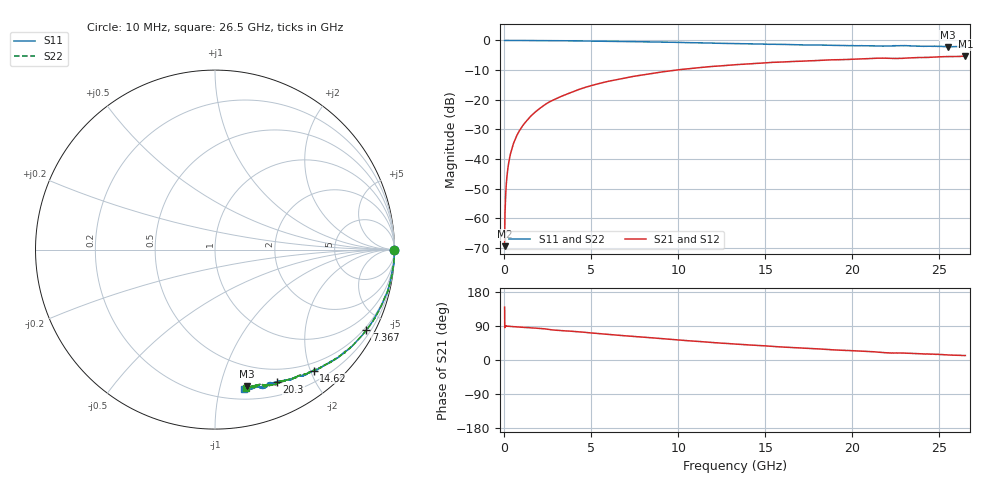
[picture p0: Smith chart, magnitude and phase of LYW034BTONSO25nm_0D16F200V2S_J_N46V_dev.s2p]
!Keysight Technologies,N5222B,MY61253708,A.15.00.15
!Date: Wednesday, June 19, 2024 09:04:40
!Correction: S11(C  2-Port  )
!S21(C  2-Port  )
!S12(C  2-Port  )
!S22(C  2-Port  )
!S2P File: Measurements: S11, S21, S12, S22:
# Hz S  RI  R 50
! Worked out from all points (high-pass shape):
!   2651 points, 10 MHz to 26.5 GHz, reference 50 ohm
!   highest |S21| = -5.29 dB at 26.5 GHz (marker M1); lowest = -69.5 dB at 10 MHz (marker M2)
!   |S21| within 3 dB of the highest: 13.06331 GHz to 13.07083 GHz (7.52 MHz wide, 0.0576 % of centre); 13.1 GHz to end of sweep
!   lowest |S11| = -2.2 dB at 25.5 GHz (marker M3), VSWR 8.09, Z = 15.7 - j60.7 ohm
!   |S11| at or under -10 dB: nowhere
!   |S22| runs from -2.1 to 0.0 dB; largest |S21 - S12| = 0.0074
!   S11 on the Smith chart (normalised r, x): 10 MHz: open; 7.367 GHz: 0.39, -3.98; 14.62 GHz: 0.37, -2.05; 20.3 GHz: 0.34, -1.52; 26.5 GHz: 0.29, -1.19
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1e7  0.9986 -0.002  -0.000256 0.000218  0.000176 0.000418  0.9986 -0.00077
6.997736e7  1 -0.00523  -8.54e-06 0.00243  -2.56e-05 0.00248  0.9996 -0.00483
1.599434e8  0.9998 -0.0118  8.25e-05 0.00559  5.83e-05 0.00563  0.9995 -0.0111
1.999283e8  0.9999 -0.0141  0.000103 0.007  9.95e-05 0.00706  0.9996 -0.0134
2.599057e8  0.9995 -0.0185  0.000151 0.0091  0.000163 0.00915  0.9995 -0.0177
3.598679e8  0.9993 -0.0256  0.000307 0.0125  0.000345 0.0127  0.9992 -0.025
4.898189e8  0.9987 -0.0345  0.000596 0.0171  0.000622 0.0173  0.9988 -0.0335
6.497585e8  0.9983 -0.0453  0.00105 0.0226  0.00102 0.0228  0.9982 -0.0443
8.396868e8  0.9976 -0.0583  0.00166 0.0291  0.00169 0.0293  0.9978 -0.0579
1.459453e9  0.9896 -0.1022  0.00419 0.0509  0.00419 0.0511  0.9921 -0.0984
2.339121e9  0.9796 -0.158  0.0114 0.0821  0.0116 0.0826  0.9809 -0.1585
3.138819e9  0.9676 -0.211  0.0227 0.107  0.0228 0.1076  0.9684 -0.2099
4.428332e9  0.9367 -0.2899  0.0427 0.148  0.0431 0.1489  0.9384 -0.2875
7.367223e9  0.8435 -0.4476  0.1139 0.2179  0.1151 0.2186  0.8451 -0.4462
8.846664e9  0.7871 -0.5127  0.1567 0.2425  0.158 0.2432  0.7884 -0.5115
1.3255e10  0.6048 -0.6475  0.2881 0.2611  0.2901 0.261  0.6079 -0.6464
1.462448e10  0.5507 -0.674  0.3237 0.2547  0.3254 0.255  0.5545 -0.6705
1.767333e10  0.4296 -0.7195  0.3936 0.227  0.3967 0.2258  0.4401 -0.7176
2.030234e10  0.3459 -0.7391  0.4424 0.1972  0.4456 0.1948  0.3593 -0.7403
2.209166e10  0.2962 -0.7461  0.4731 0.1609  0.4746 0.1588  0.2898 -0.7527
2.550038e10  0.1789 -0.7592  0.5194 0.1218  0.5207 0.1229  0.1991 -0.7636
2.65e10  0.1609 -0.7739  0.5326 0.111  0.5317 0.1081  0.1732 -0.773
